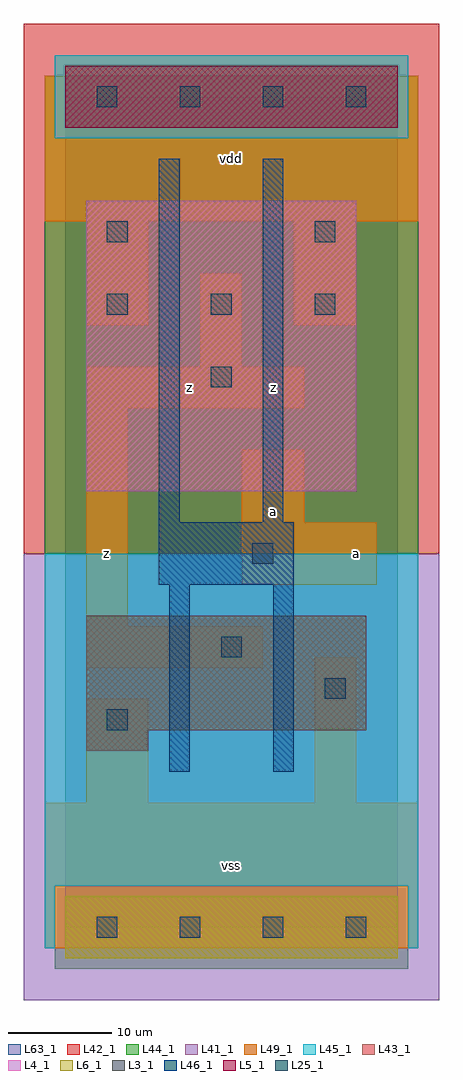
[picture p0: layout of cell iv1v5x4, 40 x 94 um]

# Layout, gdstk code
import gdstk
lib = gdstk.Library(unit=1e-6, precision=1e-09)
def R(c, l, rs):  # rectangles x0, y0, x1, y1
    for r in rs: c.add(gdstk.rectangle(r[:2], r[2:], *l))
def A(c, l, x, y, w, h, nx, ny, dx, dy):  # array of equal rectangles
    R(c, l, [(x+i*dx, y+j*dy, x+i*dx+w, y+j*dy+h) for i in range(nx) for j in range(ny)])
L3_1 = (3, 1)
L4_1 = (4, 1)
L5_1 = (5, 1)
L6_1 = (6, 1)
L25_1 = (25, 1)
L41_1 = (41, 1)
L42_1 = (42, 1)
L43_1 = (43, 1)
L44_1 = (44, 1)
L45_1 = (45, 1)
L46_1 = (46, 1)
L49_1 = (49, 1)
L63_1 = (63, 1)

iv1v5x4 = lib.new_cell('iv1v5x4')
R(iv1v5x4, L3_1, [(2,17,8,19), (2,19,29,30)])
R(iv1v5x4, L4_1, [(2,42,28,70)])
R(iv1v5x4, L5_1, [(0,77,32,83)])
R(iv1v5x4, L6_1, [(0,-3,32,3), (0,-3,32,3)])
A(iv1v5x4, L25_1, 3, -1, 2, 2, 4, 2, 8, 80)
A(iv1v5x4, L25_1, 4, 59, 2, 2, 3, 1, 10, 0)
R(iv1v5x4, L25_1, [(4,19,6,21), (25,22,27,24), (15,26,17,28), (18,35,20,37), (14,52,16,54), (4,66,6,68), (24,66,26,68)])
R(iv1v5x4, L41_1, [(-4,-7,36,36)])
R(iv1v5x4, L42_1, [(-4,36,36,87)])
R(iv1v5x4, L43_1, [(0,-3,32,3), (2,17,8,19), (2,19,29,30), (2,42,28,70), (0,77,32,83)])
R(iv1v5x4, L44_1, [(-1,-4,33,4), (-2,36,34,76), (-2,76,-1,82), (33,76,34,82)])
R(iv1v5x4, L45_1, [(-2,-2,-1,4), (33,-2,34,4), (-2,4,34,36), (-1,76,33,84)])
R(iv1v5x4, L46_1, [(10,15,12,33), (20,15,22,33), (9,33,22,39), (9,39,11,74), (19,39,21,74)])
R(iv1v5x4, L49_1, [(-2,-2,34,12), (2,12,8,22), (24,12,28,26), (2,25,19,29), (2,29,6,50), (17,33,30,39), (17,39,23,46), (2,50,23,54), (13,54,17,63), (2,58,8,68), (22,58,28,68), (-2,68,34,82)])
R(iv1v5x4, L63_1, [(0,0,32,80)])
iv1v5x4.add(gdstk.Label('z', (4,36), layer=49, texttype=1))
iv1v5x4.add(gdstk.Label('z', (12,52), layer=49, texttype=1))
iv1v5x4.add(gdstk.Label('vss', (16,6), layer=49, texttype=1))
iv1v5x4.add(gdstk.Label('a', (20,40), layer=49, texttype=1))
iv1v5x4.add(gdstk.Label('z', (20,52), layer=49, texttype=1))
iv1v5x4.add(gdstk.Label('vdd', (16,74), layer=49, texttype=1))
iv1v5x4.add(gdstk.Label('a', (28,36), layer=49, texttype=1))

lib.write_gds('iv1v5x4.gds')
